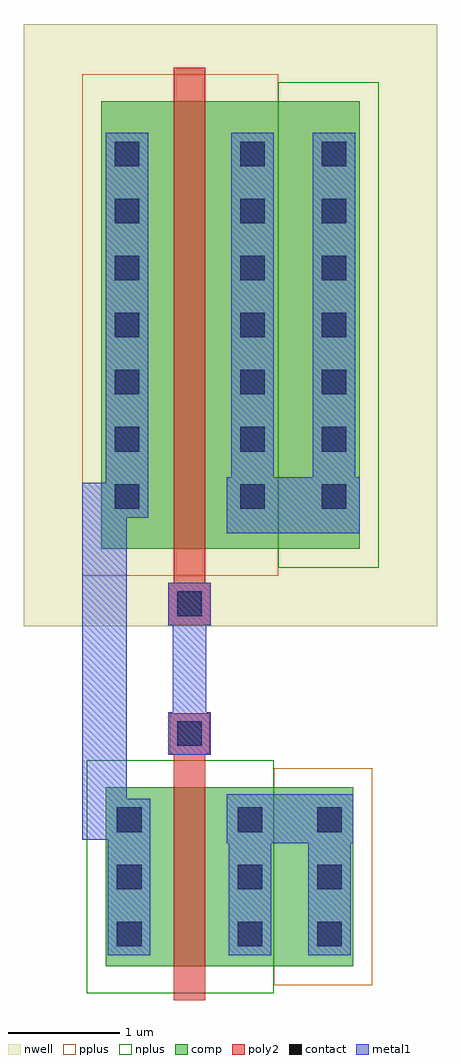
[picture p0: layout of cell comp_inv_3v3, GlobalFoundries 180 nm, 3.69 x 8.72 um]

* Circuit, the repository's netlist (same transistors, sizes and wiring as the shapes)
** sch_path: /foss/designs/chipathon26-SAR_ADC/xschem/sar_adc/blocks/comparator/comp_inv_3v3.sch
**.subckt comp_inv_3v3 vi vo vdd vss
*.ipin vi
*.opin vo
*.iopin vdd
*.iopin vss
XM2 vo vi vdd vdd pfet_03v3 L=0.28u W=4.00u nf=1 ad='int((nf+1)/2) * W/nf * 0.18u' as='int((nf+2)/2) * W/nf * 0.18u' pd='2*int((nf+1)/2) * (W/nf + 0.18u)'
+ ps='2*int((nf+2)/2) * (W/nf + 0.18u)' nrd='0.18u / W' nrs='0.18u / W' sa=0 sb=0 sd=0
XM1 vo vi vss vss nfet_03v3 L=0.28u W=1.60u nf=1 ad='int((nf+1)/2) * W/nf * 0.18u' as='int((nf+2)/2) * W/nf * 0.18u' pd='2*int((nf+1)/2) * (W/nf + 0.18u)'
+ ps='2*int((nf+2)/2) * (W/nf + 0.18u)' nrd='0.18u / W' nrs='0.18u / W' sa=0 sb=0 sd=0
**.ends
.end

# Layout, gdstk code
import gdstk
lib = gdstk.Library(unit=1e-6, precision=1e-09)
def R(c, l, rs):  # rectangles x0, y0, x1, y1
    for r in rs: c.add(gdstk.rectangle(r[:2], r[2:], *l))
def A(c, l, x, y, w, h, nx, ny, dx, dy):  # array of equal rectangles
    R(c, l, [(x+i*dx, y+j*dy, x+i*dx+w, y+j*dy+h) for i in range(nx) for j in range(ny)])
nwell = (21, 0)
comp = (22, 0)
poly2 = (30, 0)
pplus = (31, 0)
nplus = (32, 0)
contact = (33, 0)
metal1 = (34, 0)

gf180mcu_nfet_l_0_280_w_ = lib.new_cell('gf180mcu.nfet(L=0.280,W=1.000)')

gf180mcu_pfet_l_0_280_w_ = lib.new_cell('gf180mcu.pfet(L=0.280,W=2.000)')

comp_inv_3v3 = lib.new_cell('comp_inv_3v3')
R(comp_inv_3v3, nwell, [(-1.47,0.52,2.22,5.9)])
R(comp_inv_3v3, comp, [(-0.74,-2.52,-0.32,-0.92), (-0.32,-2.52,0.34,-0.92), (0.34,-2.52,0.76,-0.92), (0.76,-2.52,1.47,-0.92), (-0.78,1.21,-0.32,5.21), (-0.32,1.21,0.34,5.21), (0.34,1.21,0.8,5.21), (0.8,1.21,1.53,5.21)])
R(comp_inv_3v3, poly2, [(-0.13,-2.82,0.15,-0.62), (-0.17,-0.62,0.19,-0.26), (-0.18,0.53,0.2,0.91), (-0.13,0.91,0.15,5.51)])
R(comp_inv_3v3, pplus, [(0.76,-2.69,1.64,-0.75), (-0.95,0.97,0.8,5.45)])
R(comp_inv_3v3, nplus, [(-0.91,-2.76,0.76,-0.68), (0.8,1.04,1.7,5.38)])
A(comp_inv_3v3, contact, -0.64, -2.34, 0.22, 0.22, 1, 3, 0, 0.51)
A(comp_inv_3v3, contact, 0.44, -2.34, 0.22, 0.22, 1, 3, 0, 0.51)
A(comp_inv_3v3, contact, 1.15, -2.34, 0.22, 0.22, 1, 3, 0, 0.51)
A(comp_inv_3v3, contact, -0.66, 1.57, 0.22, 0.22, 1, 7, 0, 0.51)
A(comp_inv_3v3, contact, 0.46, 1.57, 0.22, 0.22, 1, 7, 0, 0.51)
A(comp_inv_3v3, contact, 1.19, 1.57, 0.22, 0.22, 1, 7, 0, 0.51)
R(comp_inv_3v3, contact, [(-0.1,-0.55,0.12,-0.33), (-0.1,0.61,0.12,0.83)])
R(comp_inv_3v3, metal1, [(-0.72,-2.42,-0.34,-1.02), (0.36,-2.42,0.74,-1.02), (1.07,-2.42,1.45,-1.02), (0.34,-1.42,1.47,-0.98), (-0.95,-1.39,-0.55,1.8), (-0.18,-0.63,0.2,-0.25), (-0.18,0.53,0.2,0.91), (0.34,1.35,1.53,1.85), (-0.74,1.49,-0.36,4.93), (0.38,1.49,0.76,4.93), (1.11,1.49,1.49,4.93)])
comp_inv_3v3.add(gdstk.FlexPath([(0.01,0.83),(0.01,-0.62),(0.01,-0.62)], 0.3, ends="flush", simple_path=True, layer=34, datatype=0))  # metal1
comp_inv_3v3.add(gdstk.Reference(gf180mcu_nfet_l_0_280_w_, (0,0)))
comp_inv_3v3.add(gdstk.Reference(gf180mcu_pfet_l_0_280_w_, (0,0)))

lib.write_gds('comp_inv_3v3.gds')
